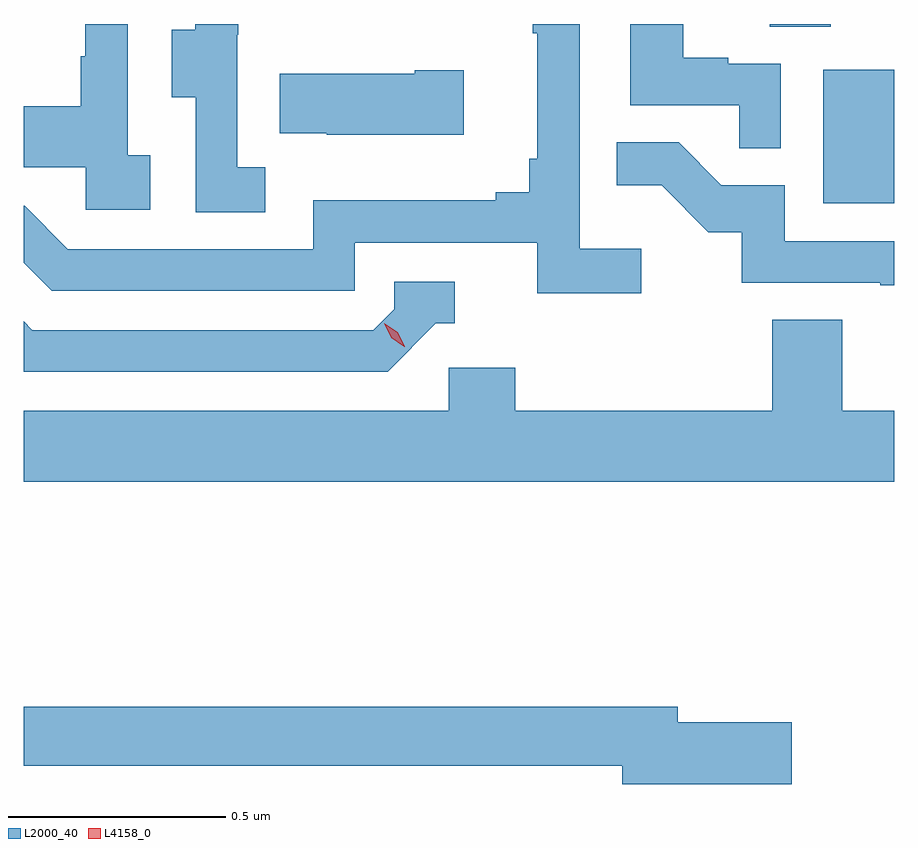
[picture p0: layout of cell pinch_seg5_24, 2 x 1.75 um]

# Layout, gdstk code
import gdstk
lib = gdstk.Library(unit=1e-6, precision=1e-09)
def R(c, l, rs):  # rectangles x0, y0, x1, y1
    for r in rs: c.add(gdstk.rectangle(r[:2], r[2:], *l))
def P(c, l, *ps):  # polygons
    for p in ps: c.add(gdstk.Polygon(p, *l))
L2000_40 = (2000, 40)
L4158_0 = (4158, 0)

pinch_seg5_24 = lib.new_cell('pinch_seg5_24')
R(pinch_seg5_24, L2000_40, [(1123.514,914.676,1123.677,914.983), (1123.391,915.082,1123.531,915.088)])
P(pinch_seg5_24, L2000_40, [(1123.416,914.997),(1123.295,914.997),(1123.295,915.01),(1123.192,915.01),(1123.192,915.088),(1123.07,915.088),(1123.07,914.901),(1123.321,914.901),(1123.321,914.803),(1123.416,914.803)],
  [(1123.096,914.572),(1122.954,914.572),(1122.954,915.088),(1122.846,915.088),(1122.846,915.067),(1122.857,915.067),(1122.857,914.779),(1122.838,914.779),(1122.838,914.702),(1122.761,914.702),(1122.761,914.683),(1122.342,914.683),(1122.342,914.571),(1121.778,914.571),(1121.679,914.67),(1121.677,914.67),(1121.677,914.539),(1121.741,914.475),(1122.438,914.475),(1122.438,914.586),(1122.857,914.586),(1122.857,914.47),(1123.096,914.47)],
  [(1122.232,914.759),(1122.168,914.759),(1122.168,915.063),(1122.17,915.063),(1122.17,915.088),(1122.071,915.088),(1122.071,915.075),(1122.017,915.075),(1122.017,914.92),(1122.072,914.92),(1122.072,914.656),(1122.232,914.656)],
  [(1121.968,914.786),(1121.916,914.786),(1121.916,915.088),(1121.818,915.088),(1121.818,915.014),(1121.808,915.014),(1121.808,914.899),(1121.677,914.899),(1121.677,914.759),(1121.82,914.759),(1121.82,914.661),(1121.968,914.661)],
  [(1122.688,914.982),(1122.575,914.982),(1122.575,914.974),(1122.265,914.974),(1122.265,914.837),(1122.373,914.837),(1122.373,914.834),(1122.688,914.834)],
  [(1123.677,914.589),(1123.425,914.589),(1123.425,914.718),(1123.28,914.718),(1123.182,914.816),(1123.039,914.816),(1123.039,914.717),(1123.143,914.717),(1123.25,914.61),(1123.327,914.61),(1123.327,914.493),(1123.645,914.493),(1123.645,914.488),(1123.677,914.488)],
  [(1122.624,914.4),(1122.667,914.4),(1122.667,914.496),(1122.528,914.496),(1122.528,914.433),(1122.48,914.385),(1121.697,914.385),(1121.677,914.405),(1121.677,914.289),(1122.513,914.289)],
  [(1123.677,914.2),(1123.557,914.2),(1123.557,914.408),(1123.397,914.408),(1123.397,914.2),(1122.806,914.2),(1122.806,914.298),(1122.654,914.298),(1122.654,914.2),(1121.677,914.2),(1121.677,914.036),(1123.677,914.036)],
  [(1123.441,913.484),(1123.18,913.484),(1123.18,913.52),(1121.677,913.52),(1121.677,913.384),(1123.052,913.384),(1123.052,913.342),(1123.441,913.342)])
P(pinch_seg5_24, L4158_0, [(1122.551,914.347),(1122.521,914.367),(1122.505,914.4),(1122.505,914.4),(1122.505,914.4),(1122.536,914.38),(1122.552,914.347),(1122.552,914.347)])

lib.write_gds('pinch_seg5_24.gds')
